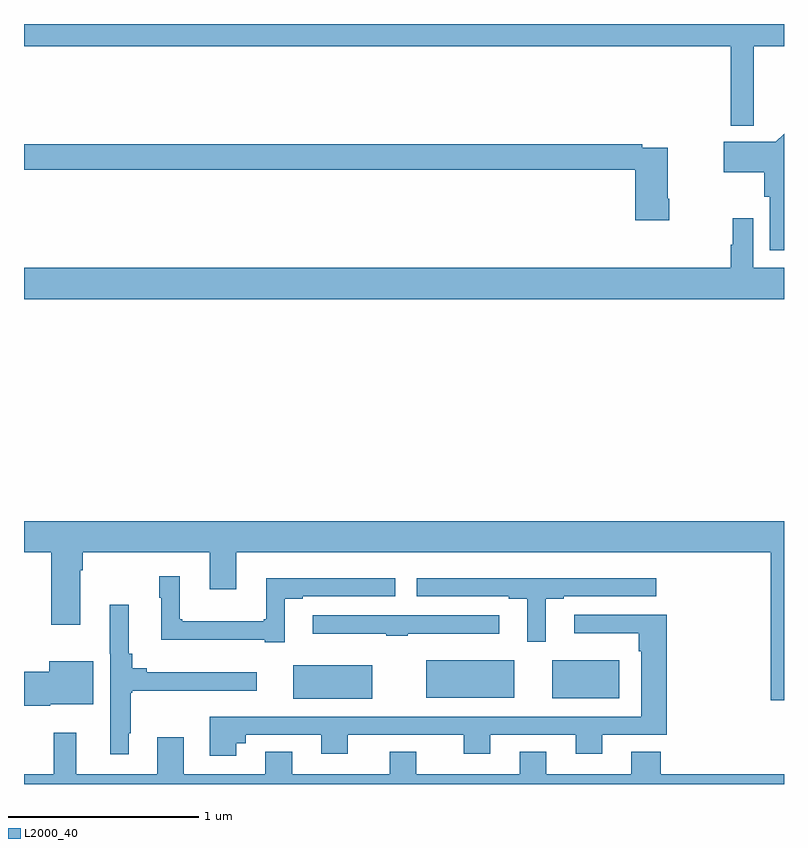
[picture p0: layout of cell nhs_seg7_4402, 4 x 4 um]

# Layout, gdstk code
import gdstk
lib = gdstk.Library(unit=1e-6, precision=1e-09)
def R(c, l, rs):  # rectangles x0, y0, x1, y1
    for r in rs: c.add(gdstk.rectangle(r[:2], r[2:], *l))
def P(c, l, *ps):  # polygons
    for p in ps: c.add(gdstk.Polygon(p, *l))
L2000_40 = (2000, 40)

nhs_seg7_4402 = lib.new_cell('nhs_seg7_4402')
R(nhs_seg7_4402, L2000_40, [(388.418,1062.449,388.834,1062.625), (389.78,1062.452,390.133,1062.652), (389.117,1062.455,389.581,1062.652)])
P(nhs_seg7_4402, L2000_40, [(390.841,1065.884),(391,1065.884),(391,1066),(387,1066),(387,1065.884),(390.719,1065.884),(390.719,1065.464),(390.841,1065.464)],
  [(391,1065.422),(390.957,1065.379),(390.684,1065.379),(390.684,1065.221),(390.896,1065.221),(390.896,1065.09),(390.926,1065.09),(390.926,1064.81),(391,1064.81)],
  [(390.396,1065.079),(390.388,1065.079),(390.388,1065.348),(390.254,1065.348),(390.254,1065.368),(387,1065.368),(387,1065.232),(390.218,1065.232),(390.218,1064.967),(390.396,1064.967)],
  [(391,1064.716),(390.837,1064.716),(390.837,1064.977),(390.729,1064.977),(390.729,1064.838),(390.721,1064.838),(390.721,1064.716),(387,1064.716),(387,1064.552),(391,1064.552)],
  [(391,1063.384),(387,1063.384),(387,1063.22),(387.143,1063.22),(387.143,1062.837),(387.295,1062.837),(387.295,1063.124),(387.308,1063.124),(387.308,1063.22),(387.977,1063.22),(387.977,1063.026),(388.117,1063.026),(388.117,1063.22),(390.929,1063.22),(390.929,1062.441),(391,1062.441)],
  [(388.372,1062.975),(388.468,1062.975),(388.468,1062.987),(388.954,1062.987),(388.954,1063.084),(388.274,1063.084),(388.274,1062.868),(388.263,1062.868),(388.263,1062.856),(387.832,1062.856),(387.832,1062.868),(387.82,1062.868),(387.82,1063.093),(387.711,1063.093),(387.711,1062.98),(387.722,1062.98),(387.722,1062.758),(388.268,1062.758),(388.268,1062.747),(388.372,1062.747)],
  [(389.746,1062.975),(389.842,1062.975),(389.842,1062.987),(390.328,1062.987),(390.328,1063.084),(389.067,1063.084),(389.067,1062.987),(389.552,1062.987),(389.552,1062.975),(389.648,1062.975),(389.648,1062.75),(389.746,1062.75)],
  [(387.55,1062.268),(387.562,1062.268),(387.562,1062.48),(387.569,1062.48),(387.569,1062.49),(387.881,1062.49),(387.881,1062.491),(388.225,1062.491),(388.225,1062.589),(387.646,1062.589),(387.646,1062.608),(387.569,1062.608),(387.569,1062.685),(387.55,1062.685),(387.55,1062.943),(387.452,1062.943),(387.452,1062.685),(387.453,1062.685),(387.453,1062.156),(387.55,1062.156)],
  [(388.117,1062.215),(388.168,1062.215),(388.168,1062.258),(388.565,1062.258),(388.565,1062.158),(388.705,1062.158),(388.705,1062.258),(389.315,1062.258),(389.315,1062.158),(389.455,1062.158),(389.455,1062.258),(389.903,1062.258),(389.903,1062.158),(390.043,1062.158),(390.043,1062.258),(390.383,1062.258),(390.383,1062.891),(389.895,1062.891),(389.895,1062.794),(390.236,1062.794),(390.236,1062.698),(390.248,1062.698),(390.248,1062.354),(388.322,1062.354),(388.322,1062.355),(387.977,1062.355),(387.977,1062.15),(388.117,1062.15)],
  [(389.021,1062.791),(389.5,1062.791),(389.5,1062.888),(388.521,1062.888),(388.521,1062.791),(388.906,1062.791),(388.906,1062.78),(389.021,1062.78)],
  [(387.138,1062.419),(387.364,1062.419),(387.364,1062.646),(387.134,1062.646),(387.134,1062.59),(387,1062.59),(387,1062.412),(387.138,1062.412)],
  [(391,1062.052),(390.35,1062.052),(390.35,1062.169),(390.197,1062.169),(390.197,1062.052),(389.749,1062.052),(389.749,1062.169),(389.609,1062.169),(389.609,1062.052),(389.065,1062.052),(389.065,1062.169),(388.925,1062.169),(388.925,1062.052),(388.411,1062.052),(388.411,1062.169),(388.271,1062.169),(388.271,1062.052),(387.841,1062.052),(387.841,1062.247),(387.701,1062.247),(387.701,1062.052),(387.275,1062.052),(387.275,1062.271),(387.157,1062.271),(387.157,1062.052),(387,1062.052),(387,1062),(391,1062)])

lib.write_gds('nhs_seg7_4402.gds')
